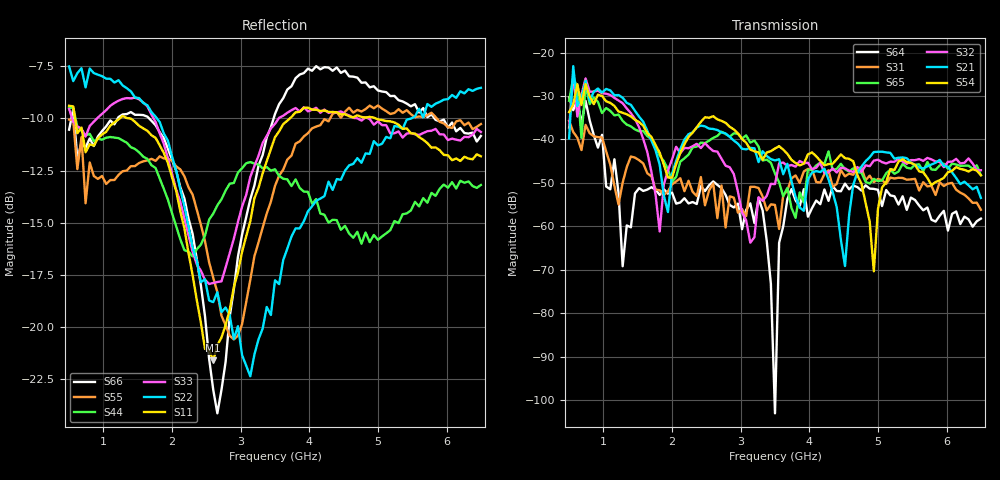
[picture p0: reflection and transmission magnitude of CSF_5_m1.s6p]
!Keysight Technologies,M9804A,MY58100912,A.14.10.03
!Date: Thursday, April 27, 2023 10:28:33
!Correction: S11(C  6-Port  )
!S12(C  6-Port  )
!S13(C  6-Port  )
!S14(C  6-Port  )
!S15(C  6-Port  )
!S16(C  6-Port  )
!S21(C  6-Port  )
!S22(C  6-Port  )
!S23(C  6-Port  )
!S24(C  6-Port  )
!S25(C  6-Port  )
!S26(C  6-Port  )
!S31(C  6-Port  )
!S32(C  6-Port  )
!S33(C  6-Port  )
!S34(C  6-Port  )
!S35(C  6-Port  )
!S36(C  6-Port  )
!S41(C  6-Port  )
!S42(C  6-Port  )
!S43(C  6-Port  )
!S44(C  6-Port  )
!S45(C  6-Port  )
!S46(C  6-Port  )
!S51(C  6-Port  )
!S52(C  6-Port  )
!S53(C  6-Port  )
!S54(C  6-Port  )
!S55(C  6-Port  )
!S56(C  6-Port  )
!S61(C  6-Port  )
!S62(C  6-Port  )
!S63(C  6-Port  )
!S64(C  6-Port  )
!S65(C  6-Port  )
!S66(C  6-Port  )
!S6P File: Measurement: :
# Hz S  RI  R 50
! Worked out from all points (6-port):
!   101 points, 500 MHz to 6.5 GHz, reference 50 ohm
!   strongest paths, dB at 500 MHz, 2 GHz, 3.5 GHz, 5 GHz, 6.5 GHz:
!     S54: -33.7, -48.8, -42.1, -56.0, -48.2
!     S21: -39.8, -47.9, -44.8, -42.8, -53.4
!     S32: -37.3, -44.6, -50.3, -44.7, -47.1
!     S65: -31.1, -49.7, -47.8, -49.5, -48.2
!     S31: -35.7, -50.3, -55.1, -49.1, -56.2
!     S64: -30.3, -52.2, -103.0, -51.6, -58.2
!   lowest |S11| = -21.6 dB at 2.6 GHz (marker M1), VSWR 1.18, Z = 42.6 + j2 ohm
!   |S11| at or under -10 dB: 587 MHz to 1.237 GHz (650.1 MHz wide, 71.3 % of centre); 1.391 GHz to 3.715 GHz (2.324 GHz wide, 91 % of centre); 4.969 GHz to end of sweep
